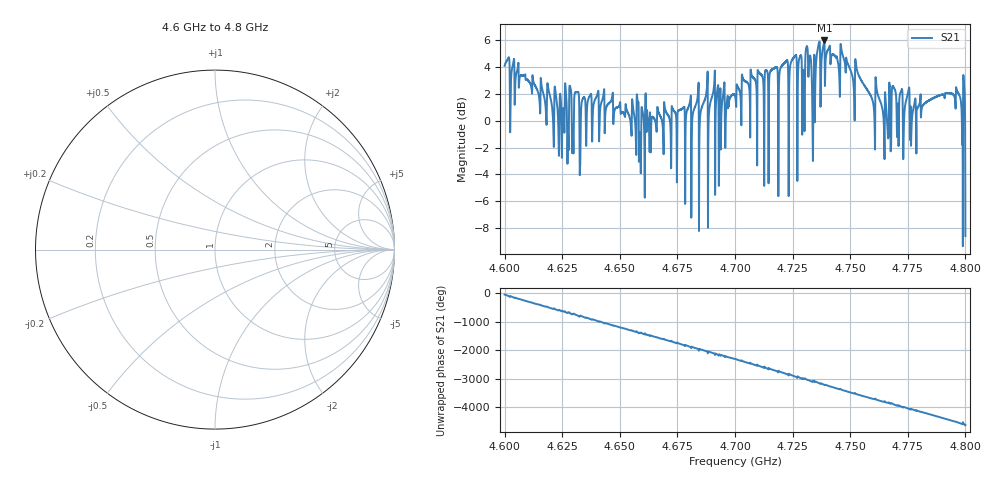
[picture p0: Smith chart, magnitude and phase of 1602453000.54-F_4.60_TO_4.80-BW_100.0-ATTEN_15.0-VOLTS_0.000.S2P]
!Keysight Technologies,E5063A,MY54502693,A.05.04
!Date: Mon Oct 12 06:51:37 2020
!Data & Calibration Information:
!Freq	S11:NONE(--)	S21:NONE(--)	S12:NONE(--)	S22:NONE(--)
# Hz S RI R 50
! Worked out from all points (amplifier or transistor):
!   10000 points, 4.6 GHz to 4.8 GHz, reference 50 ohm
!   highest |S21| = 6.0 dB at 4.7388 GHz (marker M1)
!   |S21| within 3 dB of that: 4.739092 GHz to 4.745336 GHz (6.243 MHz wide, 0.132 % of centre) (the widest 1 of 28)
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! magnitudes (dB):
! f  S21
! 4.6 GHz  4.1
! 4.6241 GHz  2.0
! 4.6313 GHz  2.1
! 4.6333 GHz  1.2
! 4.6398 GHz  1.8
! 4.6599 GHz  0.7
! 4.6667 GHz  0.7
! 4.7 GHz  1.9
! 4.7239 GHz  4.1
! 4.7257 GHz  4.8
! 4.7296 GHz  3.8
! 4.7316 GHz  5.2
! 4.7334 GHz  3.0
! 4.7344 GHz  4.9
! 4.736 GHz  5.4
! 4.7388 GHz  6.0
! 4.7667 GHz  -0.8
! 4.769 GHz  2.5
! 4.7768 GHz  0.1
! 4.7969 GHz  2.1
! 4.7989 GHz  -9.4
! 4.8 GHz  -8.6
